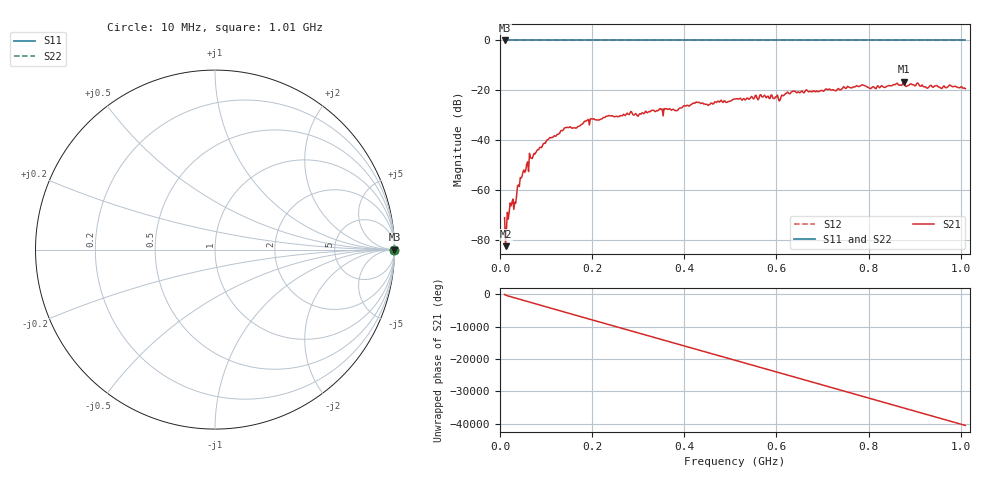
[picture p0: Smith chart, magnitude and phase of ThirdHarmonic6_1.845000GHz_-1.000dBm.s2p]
! 8/16/2025 10:19:58 PM
! C:\ANRITSUVNA\TEMP\TEMP.S2P
! CHANNEL.1
! TR.MEASUREMENT
! RAW.DATA
! RF.CORRECTION.OFF
! AVERAGING.OFF
! IF.BANDWIDTH: 5KHZ
! SWEEPTYPE:  FREQ.SWEEP(Linear)
! Reference Plane Port Info
! PORT:  PORT1  PORT2
! DISTANCE:  0  m  0  m
! TIME:  0  s  0  s
! PHASE.OFFSET:  0  deg.  0  deg.
! LOSS:  0  dB  0  dB
! REF.LOSS:  0  dB  0  dB
! REF.FREQ:  0  Hz  0  Hz
! Power Info
! POWER:  -20  dBm  -20  dBm
! EFF.POWER:  -20  dBm  -20  dBm
! SOURCE.ATTEN:  0  dB  0  dB
! TEST.ATTEN:  0  dB  0  dB
# GHZ S RI R 50.0
! FREQ.GHZ  S11RE  S11IM  S21RE  S21IM  S12RE  S12IM  S22RE  S22IM
!; PortSelection: Port_12
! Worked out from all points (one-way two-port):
!   501 points, 10 MHz to 1.01 GHz, reference 50 ohm
!   highest |S21| = -16.48 dB at 876 MHz (marker M1); lowest = -82.3 dB at 12 MHz (marker M2)
!   lowest |S11| = 0.0 dB at 10 MHz (marker M3)
!   |S11| at or under -10 dB: nowhere
!   |S22| runs from 0.0 to 0.0 dB; largest |S21 - S12| = 1.1
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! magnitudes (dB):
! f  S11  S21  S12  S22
! 10 MHz  0.0  -70.9  0.0  0.0
! 12 MHz  0.0  -82.3  0.0  0.0
! 16 MHz  0.0  -68.8  0.0  0.0
! 20 MHz  0.0  -68.7  0.0  0.0
! 24 MHz  0.0  -66.3  0.0  0.0
! 34 MHz  0.0  -65.2  0.0  0.0
! 48 MHz  0.0  -54.3  0.0  0.0
! 68 MHz  0.0  -47.2  0.0  0.0
! 104 MHz  0.0  -39.7  0.0  0.0
! 142 MHz  0.0  -34.9  0.0  0.0
! 178 MHz  0.0  -33.5  0.0  0.0
! 234 MHz  0.0  -30.3  0.0  0.0
! 344 MHz  0.0  -28.0  0.0  0.0
! 382 MHz  0.0  -28.0  0.0  0.0
! 424 MHz  0.0  -24.9  0.0  0.0
! 510 MHz  0.0  -23.5  0.0  0.0
! 608 MHz  0.0  -23.8  0.0  0.0
! 636 MHz  0.0  -20.3  0.0  0.0
! 678 MHz  0.0  -20.5  0.0  0.0
! 844 MHz  0.0  -18.1  0.0  0.0
! 876 MHz  0.0  -16.5  0.0  0.0
! 1.01 GHz  0.0  -19.3  0.0  0.0
